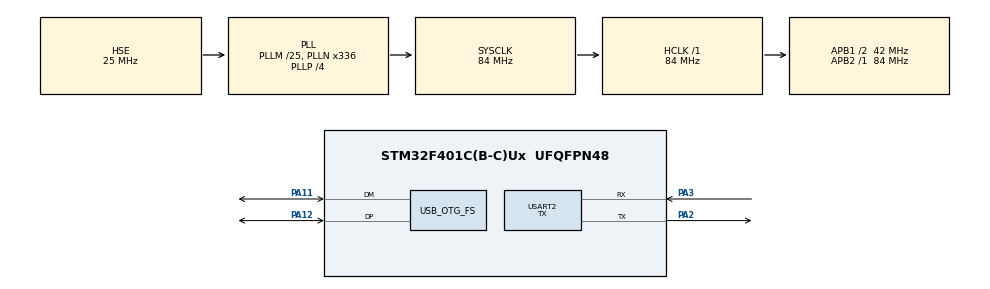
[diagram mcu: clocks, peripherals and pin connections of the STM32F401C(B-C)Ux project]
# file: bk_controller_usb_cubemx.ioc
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Mcu.Family=STM32F4
RCC.CortexFreq_Value=84000000
PH1\ -\ OSC_OUT.Mode=HSE-External-Oscillator
PA11.Mode=Host_Only
RCC.APB1CLKDivider=RCC_HCLK_DIV2
VP_USB_HOST_VS_USB_HOST_HID_FS.Mode=HID_FS
RCC.SYSCLKSource=RCC_SYSCLKSOURCE_PLLCLK
ProjectManager.StackSize=0x400
USB_OTG_FS.speed=HCD_SPEED_FULL
PA3.Mode=Asynchronous
PA12.Signal=USB_OTG_FS_DP
PH0\ -\ OSC_IN.Mode=HSE-External-Oscillator
PH0\ -\ OSC_IN.Signal=RCC_OSC_IN
ProjectManager.TargetToolchain=Makefile
RCC.HCLKFreq_Value=84000000
RCC.APB2TimFreq_Value=84000000
RCC.LSE_VALUE=32768
RCC.AHBFreq_Value=84000000
RCC.HSE_VALUE=25000000
USB_OTG_FS.phy_itface=HCD_PHY_EMBEDDED
PH1\ -\ OSC_OUT.Signal=RCC_OSC_OUT
board=custom
RCC.VCOOutputFreq_Value=336000000
USB_HOST.VirtualModeFS=Hid
RCC.APB2Freq_Value=84000000
Mcu.Name=STM32F401C(B-C)Ux
PA2.Signal=USART2_TX
RCC.48MHZClocksFreq_Value=48000000
RCC.SYSCLKFreq_VALUE=84000000
Mcu.Package=UFQFPN48
PA12.Mode=Host_Only
USART2.VirtualMode=VM_ASYNC
NVIC.OTG_FS_IRQn=true\:0\:0\:false\:false\:true\:false\:true
PA11.Signal=USB_OTG_FS_DM
USB_OTG_FS.VirtualMode=Host_Only
ProjectManager.HeapSize=0x200
RCC.HSI_VALUE=16000000
USB_HOST.USBH_HandleTypeDef=hUsbHostFS
RCC.PLLP=RCC_PLLP_DIV4
RCC.PLLQ=7
NVIC.PriorityGroup=NVIC_PRIORITYGROUP_4
RCC.PLLM=25
RCC.PLLN=336
RCC.APB1TimFreq_Value=84000000
PA2.Mode=Asynchronous
RCC.APB1Freq_Value=42000000
USART2.Mode=MODE_TX
PA3.Signal=USART2_RX

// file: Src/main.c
/* USER CODE BEGIN Header */
/**
  ******************************************************************************
  * @file           : main.c
  * @brief          : Main program body
  ******************************************************************************
  * @attention
  *
  * <h2><center>&copy; Copyright (c) 2020 STMicroelectronics.
  * All rights reserved.</center></h2>
  *
  * This software component is licensed by ST under Ultimate Liberty license
  * SLA0044, the "License"; You may not use this file except in compliance with
  * the License. You may obtain a copy of the License at:
  *                             www.st.com/SLA0044
  *
  ******************************************************************************
  */
/* USER CODE END Header */

#include "main.h"
#include "usb_host.h"

/* USER CODE BEGIN Includes */

#include <stdio.h>
#include "usbh_def.h"
#include "usbh_hid_gamepad.h"
/* USER CODE END Includes */

/* USER CODE BEGIN PD */

#define GP_LEFT 	(1<<0)
#define GP_RIGHT 	(1<<1)
#define GP_UP 		(1<<2)
#define GP_DOWN		(1<<3)
#define GP_X		(1<<4)
#define GP_CIRC		(1<<5)
#define GP_SQ		(1<<6)
#define GP_TR		(1<<7)
#define GP_START	(1<<8)
#define GP_SEL		(1<<9)
#define GP_LT		(1<<10)
#define GP_LB		(1<<11)
#define GP_RT		(1<<12)
#define GP_RB		(1<<13)

/* USER CODE END PD */

UART_HandleTypeDef huart2;

/* USER CODE BEGIN PV */

uint16_t buttons;
GPIO_InitTypeDef buttons_b, buttons_a;

/* USER CODE END PV */

void SystemClock_Config(void);
static void MX_GPIO_Init(void);
static void MX_USART2_UART_Init(void);
void MX_USB_HOST_Process(void);

/* USER CODE BEGIN 0 */

int _write(int file, unsigned char *ptr, int len)
{
	if (file == 1)
	{
		HAL_UART_Transmit(&huart2,ptr,len,1000000);
		return len;
	}
	return -1;
}

void USBH_HID_EventCallback(USBH_HandleTypeDef *phost)
{

	HID_PAD_Info_TypeDef *pi;
	pi=USBH_HID_GetPadInfo(phost);
	if (pi!=NULL)
	{
		if (pi->keys[0]<0x7f) buttons|=GP_LEFT;
			else buttons&=~GP_LEFT;
		if (pi->keys[0]>0x7f) buttons|=GP_RIGHT;
			else buttons&=~GP_RIGHT;
		if (pi->keys[1]<0x7f) buttons|=GP_UP;
			else buttons&=~GP_UP;
		if (pi->keys[1]>0x7f) buttons|=GP_DOWN;
			else buttons&=~GP_DOWN;
		if (pi->keys[5] & 0x40) buttons|=GP_X;
			else buttons&=~GP_X;
		if (pi->keys[5] & 0x80) buttons|=GP_SQ;
			else buttons&=~GP_SQ;
		if (pi->keys[5] & 0x20) buttons|=GP_CIRC;
			else buttons&=~GP_CIRC;
		if (pi->keys[5] & 0x10) buttons|=GP_TR;
			else buttons&=~GP_TR;
		if (pi->keys[6] & 0x20) buttons|=GP_START;
			else buttons&=~GP_START;
		if (pi->keys[6] & 0x10) buttons|=GP_SEL;
			else buttons&=~GP_SEL;
		if (pi->keys[6] & 0x01) buttons|=GP_LB;
			else buttons&=~GP_LB;
		if (pi->keys[6] & 0x04) buttons|=GP_LT;
			else buttons&=~GP_LT;
		if (pi->keys[6] & 0x02) buttons|=GP_RB;
			else buttons&=~GP_RB;
		if (pi->keys[6] & 0x08) buttons|=GP_RT;
			else buttons&=~GP_RT;
	}

}

/* USER CODE END 0 */

int main(void)
{
  /* USER CODE BEGIN 1 */
	//int i;
	uint16_t old_buttons=0xffff;
  /* USER CODE END 1 */

  /* MCU Configuration--------------------------------------------------------*/

  /* Reset of all peripherals, Initializes the Flash interface and the Systick. */
  HAL_Init();

  /* Configure the system clock */
  SystemClock_Config();

  /* Initialize all configured peripherals */
  MX_GPIO_Init();
  MX_USB_HOST_Init();
  MX_USART2_UART_Init();
  /* USER CODE BEGIN 2 */
	printf("\r\n\r\n");
	printf("USB Host HID\r\n");
	printf("---------------------\r\n");

	buttons_b.Pin=GPIO_PIN_3 | GPIO_PIN_4 | GPIO_PIN_5 | GPIO_PIN_6 | GPIO_PIN_7 | GPIO_PIN_8 | GPIO_PIN_9;
	buttons_b.Mode=GPIO_MODE_OUTPUT_PP;
	buttons_b.Pull=GPIO_NOPULL;
	buttons_b.Speed=GPIO_SPEED_FREQ_VERY_HIGH;
	buttons_b.Alternate=0;

	buttons_a.Pin=GPIO_PIN_15 ;
	buttons_a.Mode=GPIO_MODE_OUTPUT_PP;
	buttons_a.Pull=GPIO_NOPULL;
	buttons_a.Speed=GPIO_SPEED_FREQ_VERY_HIGH;
	buttons_a.Alternate=0;

	HAL_GPIO_Init(GPIOB,&buttons_b);
	HAL_GPIO_Init(GPIOA,&buttons_a);

  /* USER CODE END 2 */

  /* Infinite loop */
  while (1)
  {
    MX_USB_HOST_Process();
    /* USER CODE BEGIN 3 */
    if(buttons !=old_buttons)
    {
		old_buttons=buttons;
//	    for(i=0;i<16;i++)
//	    {
//			if(buttons & (1<<i)) printf("1");
//			else printf("0");
//
//		}
//		printf("\n");
		HAL_GPIO_WritePin(GPIOB,GPIO_PIN_9,buttons & GP_LEFT);
		HAL_GPIO_WritePin(GPIOB,GPIO_PIN_8,buttons &  GP_RIGHT );
		HAL_GPIO_WritePin(GPIOB,GPIO_PIN_7,buttons &  GP_UP 	);
		HAL_GPIO_WritePin(GPIOB,GPIO_PIN_6,buttons &  GP_DOWN);
		HAL_GPIO_WritePin(GPIOB,GPIO_PIN_5,buttons &  GP_X	);
		HAL_GPIO_WritePin(GPIOB,GPIO_PIN_4,buttons &  GP_CIRC);
		HAL_GPIO_WritePin(GPIOB,GPIO_PIN_3,buttons &  GP_SQ	);
		HAL_GPIO_WritePin(GPIOA,GPIO_PIN_15,buttons &  GP_TR);
// GP_START
// GP_SEL
// GP_LT
// GP_LB
// GP_RT
// GP_RB
	}
  }
  /* USER CODE END 3 */
}

void SystemClock_Config(void)
{
  RCC_OscInitTypeDef RCC_OscInitStruct = {0};
  RCC_ClkInitTypeDef RCC_ClkInitStruct = {0};

  /** Configure the main internal regulator output voltage
  */
  __HAL_RCC_PWR_CLK_ENABLE();
  __HAL_PWR_VOLTAGESCALING_CONFIG(PWR_REGULATOR_VOLTAGE_SCALE2);
  /** Initializes the CPU, AHB and APB busses clocks
  */
  RCC_OscInitStruct.OscillatorType = RCC_OSCILLATORTYPE_HSE;
  RCC_OscInitStruct.HSEState = RCC_HSE_ON;
  RCC_OscInitStruct.PLL.PLLState = RCC_PLL_ON;
  RCC_OscInitStruct.PLL.PLLSource = RCC_PLLSOURCE_HSE;
  RCC_OscInitStruct.PLL.PLLM = 25;
  RCC_OscInitStruct.PLL.PLLN = 336;
  RCC_OscInitStruct.PLL.PLLP = RCC_PLLP_DIV4;
  RCC_OscInitStruct.PLL.PLLQ = 7;
  if (HAL_RCC_OscConfig(&RCC_OscInitStruct) != HAL_OK)
  {
    Error_Handler();
  }
  /** Initializes the CPU, AHB and APB busses clocks
  */
  RCC_ClkInitStruct.ClockType = RCC_CLOCKTYPE_HCLK|RCC_CLOCKTYPE_SYSCLK
                              |RCC_CLOCKTYPE_PCLK1|RCC_CLOCKTYPE_PCLK2;
  RCC_ClkInitStruct.SYSCLKSource = RCC_SYSCLKSOURCE_PLLCLK;
  RCC_ClkInitStruct.AHBCLKDivider = RCC_SYSCLK_DIV1;
  RCC_ClkInitStruct.APB1CLKDivider = RCC_HCLK_DIV2;
  RCC_ClkInitStruct.APB2CLKDivider = RCC_HCLK_DIV1;

  if (HAL_RCC_ClockConfig(&RCC_ClkInitStruct, FLASH_LATENCY_2) != HAL_OK)
  {
    Error_Handler();
  }
}

static void MX_USART2_UART_Init(void)
{

  huart2.Instance = USART2;
  huart2.Init.BaudRate = 115200;
  huart2.Init.WordLength = UART_WORDLENGTH_8B;
  huart2.Init.StopBits = UART_STOPBITS_1;
  huart2.Init.Parity = UART_PARITY_NONE;
  huart2.Init.Mode = UART_MODE_TX;
  huart2.Init.HwFlowCtl = UART_HWCONTROL_NONE;
  huart2.Init.OverSampling = UART_OVERSAMPLING_16;
  if (HAL_UART_Init(&huart2) != HAL_OK)
  {
    Error_Handler();
  }

}

static void MX_GPIO_Init(void)
{

  /* GPIO Ports Clock Enable */
  __HAL_RCC_GPIOH_CLK_ENABLE();
  __HAL_RCC_GPIOA_CLK_ENABLE();
  __HAL_RCC_GPIOB_CLK_ENABLE();

}

void Error_Handler(void)
{
}

/************************ (C) COPYRIGHT STMicroelectronics *****END OF FILE****/
